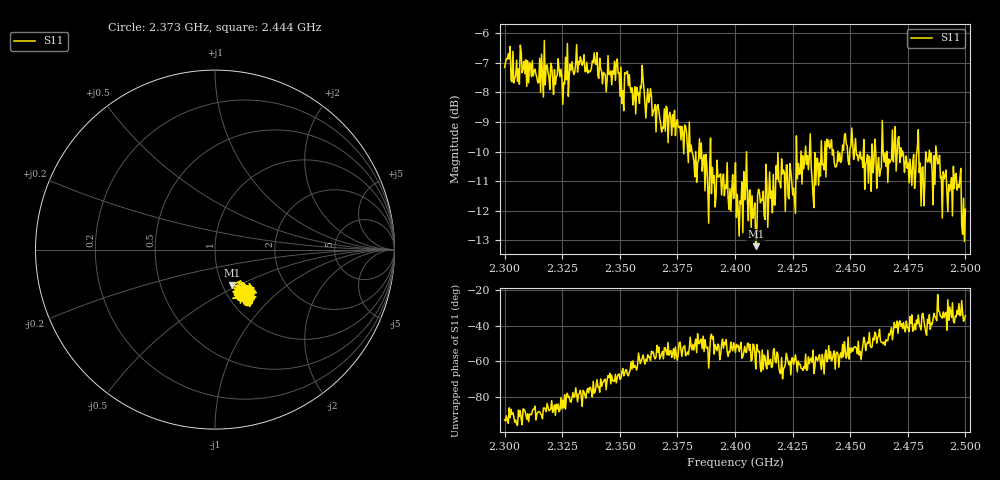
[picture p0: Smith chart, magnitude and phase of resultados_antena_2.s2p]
! PocketVna 1.33  pocketvna.com
! Live measurements ((Reflection-S11) Linear 2299999999-2500000000/500 calibrated)
# Hz S RI R 50
! Hz  ReS11  ImS11  ReS21  ImS21  ReS12  ImS12  ReS22  ImS22
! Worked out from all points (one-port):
!   500 points, 2.3 GHz to 2.5 GHz, reference 50 ohm
!   lowest |S11| = -13.2 dB at 2.409 GHz (marker M1), VSWR 1.56, Z = 55.5 - j23 ohm
!   |S11| at or under -10 dB: 2.389 GHz to 2.427 GHz (37.1 MHz wide, 1.54 % of centre); 2.472811 GHz to 2.478948 GHz (6.137 MHz wide, 0.248 % of centre); 2.487 GHz to end of sweep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
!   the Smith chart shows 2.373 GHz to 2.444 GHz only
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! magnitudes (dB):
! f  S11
! 2.3 GHz  -7.2
! 2.325 GHz  -8.4
! 2.334 GHz  -7.1
! 2.36 GHz  -7.1
! 2.367 GHz  -8.6
! 2.385 GHz  -9.7
! 2.388 GHz  -10.5
! 2.4 GHz  -10.4
! 2.403 GHz  -11.8
! 2.405 GHz  -11.2
! 2.409 GHz  -13.2
! 2.419 GHz  -10.0
! 2.425 GHz  -11.2
! 2.427 GHz  -10.4
! 2.433 GHz  -10.9
! 2.441 GHz  -9.6
! 2.467 GHz  -10.3
! 2.48 GHz  -9.3
! 2.482 GHz  -10.5
! 2.484 GHz  -10.4
! 2.488 GHz  -10.4
! 2.5 GHz  -11.9
